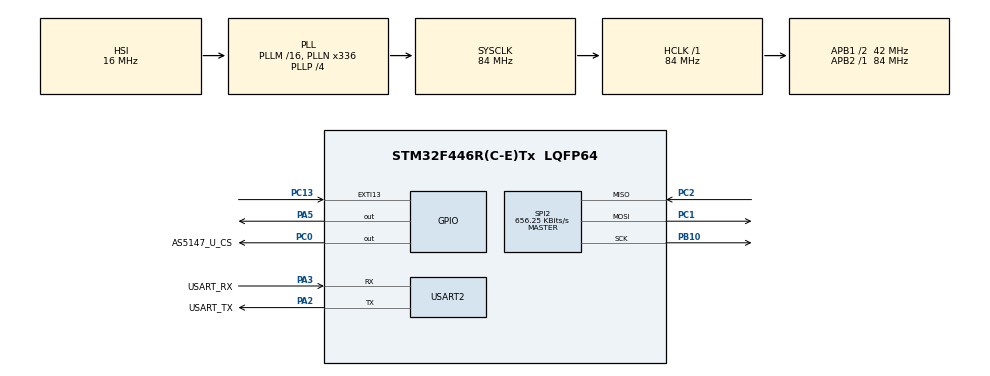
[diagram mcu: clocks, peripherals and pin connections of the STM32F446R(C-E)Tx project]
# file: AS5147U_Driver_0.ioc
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Mcu.Family=STM32F4
Mcu.Name=STM32F446R(C-E)Tx
Mcu.Package=LQFP64
NUCLEO-F446RE.BUTTON=1
NUCLEO-F446RE.LD1=true
NVIC.EXTI15_10_IRQn=true\:0\:0\:false\:false\:true\:false\:true\:true
NVIC.PriorityGroup=NVIC_PRIORITYGROUP_0
PA13.GPIO_Label=TMS
PA13.Signal=SYS_JTMS-SWDIO
PA14.GPIO_Label=TCK
PA14.Signal=SYS_JTCK-SWCLK
PA2.GPIO_Label=USART_TX
PA2.Mode=Asynchronous
PA2.Signal=USART2_TX
PA3.GPIO_Label=USART_RX
PA3.Mode=Asynchronous
PA3.Signal=USART2_RX
PA5.Signal=GPIO_Output
PB10.Mode=Full_Duplex_Master
PB10.Signal=SPI2_SCK
PB3.GPIO_Label=SWO
PB3.Signal=SYS_JTDO-SWO
PC0.GPIO_Label=AS5147_U_CS
PC0.GPIO_Speed=GPIO_SPEED_FREQ_HIGH
PC0.PinState=GPIO_PIN_SET
PC0.Signal=GPIO_Output
PC1.Mode=Full_Duplex_Master
PC1.Signal=SPI2_MOSI
PC13.Signal=GPXTI13
PC14-OSC32_IN.Signal=RCC_OSC32_IN
PC15-OSC32_OUT.Signal=RCC_OSC32_OUT
PC2.Mode=Full_Duplex_Master
PC2.Signal=SPI2_MISO
PH0-OSC_IN.Signal=RCC_OSC_IN
PH1-OSC_OUT.Signal=RCC_OSC_OUT
ProjectManager.HeapSize=0x200
ProjectManager.StackSize=0x400
ProjectManager.TargetToolchain=STM32CubeIDE
RCC.AHBFreq_Value=84000000
RCC.APB1CLKDivider=RCC_HCLK_DIV2
RCC.APB1Freq_Value=42000000
RCC.APB1TimFreq_Value=84000000
RCC.APB2Freq_Value=84000000
RCC.APB2TimFreq_Value=84000000
RCC.CortexFreq_Value=84000000
RCC.FLatency-AdvancedSettings=FLASH_LATENCY_2
RCC.HCLKFreq_Value=84000000
RCC.HSE_VALUE=8000000
RCC.HSI_VALUE=16000000
RCC.LSE_VALUE=32768
RCC.PLLN=336
RCC.PLLP=RCC_PLLP_DIV4
RCC.SYSCLKFreq_VALUE=84000000
RCC.SYSCLKSource=RCC_SYSCLKSOURCE_PLLCLK
RCC.USBFreq_Value=168000000
RCC.VCOOutputFreq_Value=336000000
SPI2.BaudRatePrescaler=SPI_BAUDRATEPRESCALER_64
SPI2.CLKPhase=SPI_PHASE_2EDGE
SPI2.CalculateBaudRate=656.25 KBits/s
SPI2.DataSize=SPI_DATASIZE_16BIT
SPI2.Direction=SPI_DIRECTION_2LINES
SPI2.Mode=SPI_MODE_MASTER
SPI2.VirtualType=VM_MASTER
USART2.VirtualMode=VM_ASYNC
VP_NUCLEO-F446RE_VS_BSP_COMMON.Mode=COMMON
board=NUCLEO-F446RE

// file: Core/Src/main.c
/* USER CODE BEGIN Header */
/**
  ******************************************************************************
  * @file           : main.c
  * @brief          : Main program body
  ******************************************************************************
  * @attention
  *
  * Copyright (c) 2026 STMicroelectronics.
  * All rights reserved.
  *
  * This software is licensed under terms that can be found in the LICENSE file
  * in the root directory of this software component.
  * If no LICENSE file comes with this software, it is provided AS-IS.
  *
  ******************************************************************************
  */
/* USER CODE END Header */
#include "main.h"

/* USER CODE BEGIN Includes */
#include "AS5147_U.h"
#include "string.h"
#include "stdio.h"
/* USER CODE END Includes */

SPI_HandleTypeDef hspi2;

UART_HandleTypeDef huart2;

/* USER CODE BEGIN PV */
as5147_u_t as5147_U = {
	.hspi = &hspi2,
	.cs_port = AS5147_U_CS_GPIO_Port,
	.cs_pin = AS5147_U_CS_Pin
	};
/* USER CODE END PV */

void SystemClock_Config(void);
static void MX_GPIO_Init(void);
static void MX_SPI2_Init(void);
static void MX_USART2_UART_Init(void);

int main(void)
{

  /* MCU Configuration--------------------------------------------------------*/

  /* Reset of all peripherals, Initializes the Flash interface and the Systick. */
  HAL_Init();

  /* Configure the system clock */
  SystemClock_Config();

  /* Initialize all configured peripherals */
  MX_GPIO_Init();
  MX_SPI2_Init();
  MX_USART2_UART_Init();
  /* USER CODE BEGIN 2 */
  HAL_Delay(10);
  char msg[80];
    uint16_t diag = 0;
    uint16_t raw = 0;
    as5147_u_status_t st;

    uint16_t errfl = 0;
    st = AS5147_U_READ(&as5147_U, AS5147_U_ERRFL, &errfl);
    snprintf(msg, sizeof(msg), "ERRFL: status=%d raw=0x%04X\r\n", st, errfl);
    HAL_UART_Transmit(&huart2, (uint8_t *)msg, strlen(msg), HAL_MAX_DELAY);

    st = AS5147_U_READ(&as5147_U, AS5147_U_DIA, &diag);
    snprintf(msg, sizeof(msg), "DIAAGC: status=%d value=0x%04X\r\n", st, diag);
    HAL_UART_Transmit(&huart2, (uint8_t *)msg, strlen(msg), HAL_MAX_DELAY);
    AS5147_U_READ_ANGLE(&as5147_U, AS5147_U_ANGLECOM, &raw);
  /* USER CODE END 2 */

  /* Initialize leds */
  BSP_LED_Init(LED2);

  /* Initialize USER push-button, will be used to trigger an interrupt each time it's pressed.*/
  BSP_PB_Init(BUTTON_USER, BUTTON_MODE_EXTI);

  /* Infinite loop */
  while (1)
  {

    /* USER CODE BEGIN 3 */
	  st = AS5147_U_READ_ANGLE(&as5147_U, AS5147_U_ANGLECOM, &raw);

	  	      	  if (st == AS5147_U_OK) {
	  	      	        uint32_t hundredths = ((uint32_t)raw * 36000U) / 16384U;
	  	      	        snprintf(msg, sizeof(msg), "angle raw=%5u  deg=%3lu.%02lu\r\n",
	  	      	                 raw, hundredths / 100U, hundredths % 100U);
	  	      	      } else {
	  	      	    	uint16_t angle_rx = as5147_U.last_rx;
	  	      	    		  	      	        uint16_t errfl = 0;
	  	      	    		  	      	        AS5147_U_READ(&as5147_U, AS5147_U_ERRFL, &errfl);
	  	      	    		  	      	        uint16_t errfl_rx = as5147_U.last_rx;
	  	      	    		  	      	        snprintf(msg, sizeof(msg), "err st=%d angle_rx=0x%04X errfl_rx=0x%04X\r\n", st, angle_rx, errfl_rx);

	  	      	      }

	  	      	      HAL_UART_Transmit(&huart2, (uint8_t *)msg, strlen(msg), HAL_MAX_DELAY);
	  	      	      HAL_Delay(100);
  }
  /* USER CODE END 3 */
}

void SystemClock_Config(void)
{
  RCC_OscInitTypeDef RCC_OscInitStruct = {0};
  RCC_ClkInitTypeDef RCC_ClkInitStruct = {0};

  /** Configure the main internal regulator output voltage
  */
  __HAL_RCC_PWR_CLK_ENABLE();
  __HAL_PWR_VOLTAGESCALING_CONFIG(PWR_REGULATOR_VOLTAGE_SCALE3);

  /** Initializes the RCC Oscillators according to the specified parameters
  * in the RCC_OscInitTypeDef structure.
  */
  RCC_OscInitStruct.OscillatorType = RCC_OSCILLATORTYPE_HSI;
  RCC_OscInitStruct.HSIState = RCC_HSI_ON;
  RCC_OscInitStruct.HSICalibrationValue = RCC_HSICALIBRATION_DEFAULT;
  RCC_OscInitStruct.PLL.PLLState = RCC_PLL_ON;
  RCC_OscInitStruct.PLL.PLLSource = RCC_PLLSOURCE_HSI;
  RCC_OscInitStruct.PLL.PLLM = 16;
  RCC_OscInitStruct.PLL.PLLN = 336;
  RCC_OscInitStruct.PLL.PLLP = RCC_PLLP_DIV4;
  RCC_OscInitStruct.PLL.PLLQ = 2;
  RCC_OscInitStruct.PLL.PLLR = 2;
  if (HAL_RCC_OscConfig(&RCC_OscInitStruct) != HAL_OK)
  {
    Error_Handler();
  }

  /** Initializes the CPU, AHB and APB buses clocks
  */
  RCC_ClkInitStruct.ClockType = RCC_CLOCKTYPE_HCLK|RCC_CLOCKTYPE_SYSCLK
                              |RCC_CLOCKTYPE_PCLK1|RCC_CLOCKTYPE_PCLK2;
  RCC_ClkInitStruct.SYSCLKSource = RCC_SYSCLKSOURCE_PLLCLK;
  RCC_ClkInitStruct.AHBCLKDivider = RCC_SYSCLK_DIV1;
  RCC_ClkInitStruct.APB1CLKDivider = RCC_HCLK_DIV2;
  RCC_ClkInitStruct.APB2CLKDivider = RCC_HCLK_DIV1;

  if (HAL_RCC_ClockConfig(&RCC_ClkInitStruct, FLASH_LATENCY_2) != HAL_OK)
  {
    Error_Handler();
  }
}

static void MX_SPI2_Init(void)
{

  /* SPI2 parameter configuration*/
  hspi2.Instance = SPI2;
  hspi2.Init.Mode = SPI_MODE_MASTER;
  hspi2.Init.Direction = SPI_DIRECTION_2LINES;
  hspi2.Init.DataSize = SPI_DATASIZE_16BIT;
  hspi2.Init.CLKPolarity = SPI_POLARITY_LOW;
  hspi2.Init.CLKPhase = SPI_PHASE_2EDGE;
  hspi2.Init.NSS = SPI_NSS_SOFT;
  hspi2.Init.BaudRatePrescaler = SPI_BAUDRATEPRESCALER_64;
  hspi2.Init.FirstBit = SPI_FIRSTBIT_MSB;
  hspi2.Init.TIMode = SPI_TIMODE_DISABLE;
  hspi2.Init.CRCCalculation = SPI_CRCCALCULATION_DISABLE;
  hspi2.Init.CRCPolynomial = 10;
  if (HAL_SPI_Init(&hspi2) != HAL_OK)
  {
    Error_Handler();
  }

}

static void MX_USART2_UART_Init(void)
{

  huart2.Instance = USART2;
  huart2.Init.BaudRate = 115200;
  huart2.Init.WordLength = UART_WORDLENGTH_8B;
  huart2.Init.StopBits = UART_STOPBITS_1;
  huart2.Init.Parity = UART_PARITY_NONE;
  huart2.Init.Mode = UART_MODE_TX_RX;
  huart2.Init.HwFlowCtl = UART_HWCONTROL_NONE;
  huart2.Init.OverSampling = UART_OVERSAMPLING_16;
  if (HAL_UART_Init(&huart2) != HAL_OK)
  {
    Error_Handler();
  }

}

static void MX_GPIO_Init(void)
{
  GPIO_InitTypeDef GPIO_InitStruct = {0};

  /* GPIO Ports Clock Enable */
  __HAL_RCC_GPIOC_CLK_ENABLE();
  __HAL_RCC_GPIOH_CLK_ENABLE();
  __HAL_RCC_GPIOA_CLK_ENABLE();
  __HAL_RCC_GPIOB_CLK_ENABLE();

  /*Configure GPIO pin Output Level */
  HAL_GPIO_WritePin(AS5147_U_CS_GPIO_Port, AS5147_U_CS_Pin, GPIO_PIN_SET);

  /*Configure GPIO pin : AS5147_U_CS_Pin */
  GPIO_InitStruct.Pin = AS5147_U_CS_Pin;
  GPIO_InitStruct.Mode = GPIO_MODE_OUTPUT_PP;
  GPIO_InitStruct.Pull = GPIO_NOPULL;
  GPIO_InitStruct.Speed = GPIO_SPEED_FREQ_HIGH;
  HAL_GPIO_Init(AS5147_U_CS_GPIO_Port, &GPIO_InitStruct);

}

void Error_Handler(void)
{
  __disable_irq();
  while (1)
  {
  }
}
